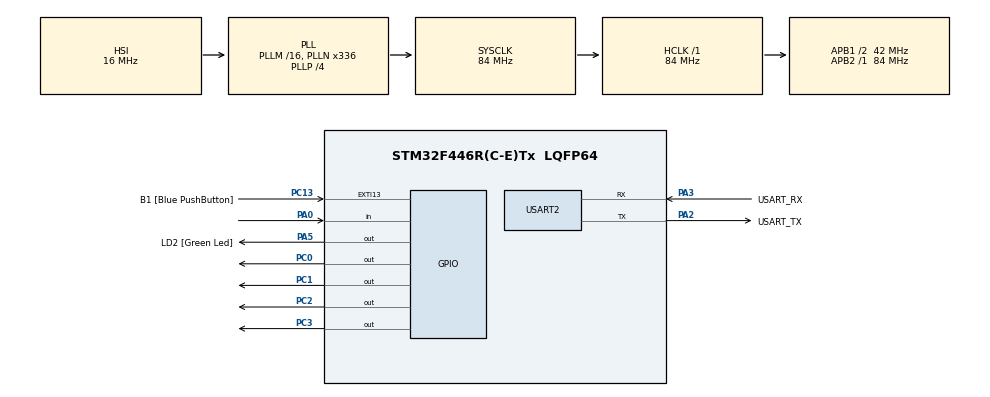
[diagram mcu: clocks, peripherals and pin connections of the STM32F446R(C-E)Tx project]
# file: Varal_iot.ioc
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Mcu.Family=STM32F4
Mcu.Name=STM32F446R(C-E)Tx
Mcu.Package=LQFP64
NVIC.PriorityGroup=NVIC_PRIORITYGROUP_0
NVIC.TIM2_IRQn=true\:0\:0\:false\:false\:true\:true\:true
PA0-WKUP.Signal=GPIO_Input
PA13.GPIO_Label=TMS
PA13.Mode=Serial_Wire
PA13.Signal=SYS_JTMS-SWDIO
PA14.GPIO_Label=TCK
PA14.Mode=Serial_Wire
PA14.Signal=SYS_JTCK-SWCLK
PA2.GPIO_Label=USART_TX
PA2.Mode=Asynchronous
PA2.Signal=USART2_TX
PA3.GPIO_Label=USART_RX
PA3.Mode=Asynchronous
PA3.Signal=USART2_RX
PA5.GPIO_Label=LD2 [Green Led]
PA5.Signal=GPIO_Output
PB3.GPIO_Label=SWO
PB3.Signal=SYS_JTDO-SWO
PC0.Signal=GPIO_Output
PC1.Signal=GPIO_Output
PC13.GPIO_Label=B1 [Blue PushButton]
PC13.GPIO_ModeDefaultEXTI=GPIO_MODE_IT_FALLING
PC13.Signal=GPXTI13
PC14-OSC32_IN.Mode=LSE-External-Oscillator
PC14-OSC32_IN.Signal=RCC_OSC32_IN
PC15-OSC32_OUT.Mode=LSE-External-Oscillator
PC15-OSC32_OUT.Signal=RCC_OSC32_OUT
PC2.Signal=GPIO_Output
PC3.Signal=GPIO_Output
PH0-OSC_IN.Mode=HSE-External-Oscillator
PH0-OSC_IN.Signal=RCC_OSC_IN
PH1-OSC_OUT.Mode=HSE-External-Oscillator
PH1-OSC_OUT.Signal=RCC_OSC_OUT
ProjectManager.HeapSize=0x200
ProjectManager.StackSize=0x400
ProjectManager.TargetToolchain=STM32CubeIDE
RCC.48MHZClocksFreq_Value=84000000
RCC.AHBFreq_Value=84000000
RCC.APB1CLKDivider=RCC_HCLK_DIV2
RCC.APB1Freq_Value=42000000
RCC.APB1TimFreq_Value=84000000
RCC.APB2Freq_Value=84000000
RCC.APB2TimFreq_Value=84000000
RCC.CortexFreq_Value=84000000
RCC.FLatency-AdvancedSettings=FLASH_LATENCY_2
RCC.HCLKFreq_Value=84000000
RCC.HSE_VALUE=8000000
RCC.HSI_VALUE=16000000
RCC.PLLN=336
RCC.PLLP=RCC_PLLP_DIV4
RCC.SYSCLKFreq_VALUE=84000000
RCC.SYSCLKSource=RCC_SYSCLKSOURCE_PLLCLK
RCC.USBFreq_Value=168000000
RCC.VCOOutputFreq_Value=336000000
TIM2.Period=99
TIM2.Prescaler=8399
USART2.VirtualMode=VM_ASYNC
VP_TIM2_VS_ClockSourceINT.Mode=Internal
board=NUCLEO-F446RE

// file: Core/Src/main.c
/* USER CODE BEGIN Header */
/**
  ******************************************************************************
  * @file           : main.c
  * @brief          : Main program body
  ******************************************************************************
  * @attention
  *
  * <h2><center>&copy; Copyright (c) 2020 STMicroelectronics.
  * All rights reserved.</center></h2>
  *
  * This software component is licensed by ST under BSD 3-Clause license,
  * the "License"; You may not use this file except in compliance with the
  * License. You may obtain a copy of the License at:
  *                        opensource.org/licenses/BSD-3-Clause
  *
  ******************************************************************************
  */
/* USER CODE END Header */

#include "main.h"
#include "tim.h"
#include "usart.h"
#include "gpio.h"

/* USER CODE BEGIN Includes */
#include "string.h"
#include "stdio.h"
/* USER CODE END Includes */

/* USER CODE BEGIN PD */

#define TAM_MSG 60 //! Tamanho maximo do buffer serial
#define TOUT_SERIAL 100 //! Timeout transmissão serial
enum{imovel = 0,horario, anti_horario};

/* USER CODE END PD */

/* USER CODE BEGIN PV */
	int msg =0;
	int move=0;
	int nibble_motor = 0b0001;
/* USER CODE END PV */

void SystemClock_Config(void);
/* USER CODE BEGIN PFP */
void move_step_motor(int*modo)
{
	if(*modo == horario)
	{
// Deslocamento bit a bit para esqueda , ativando as bobinas do motor individualmente em sequencia
		nibble_motor = nibble_motor<<1;
		if(nibble_motor == 0b1000) nibble_motor = 0b0001; // criacao do loop das bobinas

		GPIOC->ODR &=~ nibble_motor;
		GPIOC->ODR |= nibble_motor;

	}
	else if(*modo == anti_horario) // Deslocamento bit a bit para direita
	{
		nibble_motor = nibble_motor>>1;
		if(nibble_motor == 0b0001) nibble_motor = 0b1000;

		GPIOC->ODR &=~ nibble_motor;
		GPIOC->ODR |= nibble_motor;
	}
}
/* USER CODE END PFP */

int main(void)
{

  /* MCU Configuration--------------------------------------------------------*/

  /* Reset of all peripherals, Initializes the Flash interface and the Systick. */
  HAL_Init();

  /* Configure the system clock */
  SystemClock_Config();

  /* Initialize all configured peripherals */
  MX_GPIO_Init();
  MX_USART2_UART_Init();
  MX_TIM2_Init();
  /* USER CODE BEGIN 2 */
  HAL_TIM_Base_Start_IT(&htim2);

  /* USER CODE END 2 */

  /* Infinite loop */
  /* USER CODE BEGIN WHILE */
  while (1)
  {
	  if(HAL_UART_Receive(&huart2, &msg, 1, TOUT_SERIAL))//! recebe mensagem da serial e armazena em msg
	  {
		  HAL_UART_Receive(&huart2, &msg, 1, TOUT_SERIAL);
	  }

	  switch (msg) //mensagem vinda da Serial
	  {
		case 'E':// ESTENDER
			if(!(HAL_GPIO_ReadPin(GPIOA,GPIO_PIN_0)))// Sinal Proveniente do Optoacoplador
			{										 // PA0 == false; se varal estiver estendido
				// MANDAR MENSAGEM SERIAL: "JÁ ESTA ESTENDIDO"
				  move = imovel;
			}else move = horario;
		break;
		case 'R':// RECOLHER
			if(HAL_GPIO_ReadPin(GPIOA,GPIO_PIN_0)) // Sinal proveniente do Optoacoplador
			{                                      // PA0 == true; se varal estiver recolhido
				// MANDAR MENSAGEM SERIAL: "JÁ ESTA RECOLHIDO"
					move = imovel;
			}else move = anti_horario;
		break;
	  }
    /* USER CODE END WHILE */
   }
}

void SystemClock_Config(void)
{
  RCC_OscInitTypeDef RCC_OscInitStruct = {0};
  RCC_ClkInitTypeDef RCC_ClkInitStruct = {0};

  /** Configure the main internal regulator output voltage
  */
  __HAL_RCC_PWR_CLK_ENABLE();
  __HAL_PWR_VOLTAGESCALING_CONFIG(PWR_REGULATOR_VOLTAGE_SCALE3);
  /** Initializes the CPU, AHB and APB busses clocks
  */
  RCC_OscInitStruct.OscillatorType = RCC_OSCILLATORTYPE_HSI;
  RCC_OscInitStruct.HSIState = RCC_HSI_ON;
  RCC_OscInitStruct.HSICalibrationValue = RCC_HSICALIBRATION_DEFAULT;
  RCC_OscInitStruct.PLL.PLLState = RCC_PLL_ON;
  RCC_OscInitStruct.PLL.PLLSource = RCC_PLLSOURCE_HSI;
  RCC_OscInitStruct.PLL.PLLM = 16;
  RCC_OscInitStruct.PLL.PLLN = 336;
  RCC_OscInitStruct.PLL.PLLP = RCC_PLLP_DIV4;
  RCC_OscInitStruct.PLL.PLLQ = 2;
  RCC_OscInitStruct.PLL.PLLR = 2;
  if (HAL_RCC_OscConfig(&RCC_OscInitStruct) != HAL_OK)
  {
    Error_Handler();
  }
  /** Initializes the CPU, AHB and APB busses clocks
  */
  RCC_ClkInitStruct.ClockType = RCC_CLOCKTYPE_HCLK|RCC_CLOCKTYPE_SYSCLK
                              |RCC_CLOCKTYPE_PCLK1|RCC_CLOCKTYPE_PCLK2;
  RCC_ClkInitStruct.SYSCLKSource = RCC_SYSCLKSOURCE_PLLCLK;
  RCC_ClkInitStruct.AHBCLKDivider = RCC_SYSCLK_DIV1;
  RCC_ClkInitStruct.APB1CLKDivider = RCC_HCLK_DIV2;
  RCC_ClkInitStruct.APB2CLKDivider = RCC_HCLK_DIV1;

  if (HAL_RCC_ClockConfig(&RCC_ClkInitStruct, FLASH_LATENCY_2) != HAL_OK)
  {
    Error_Handler();
  }
}

/* USER CODE BEGIN 4 */

void HAL_TIM_PeriodElapsedCallback(TIM_HandleTypeDef *htim)
{
	move_step_motor(&move);
}

/* USER CODE END 4 */

void Error_Handler(void)
{
}

/************************ (C) COPYRIGHT STMicroelectronics *****END OF FILE****/
